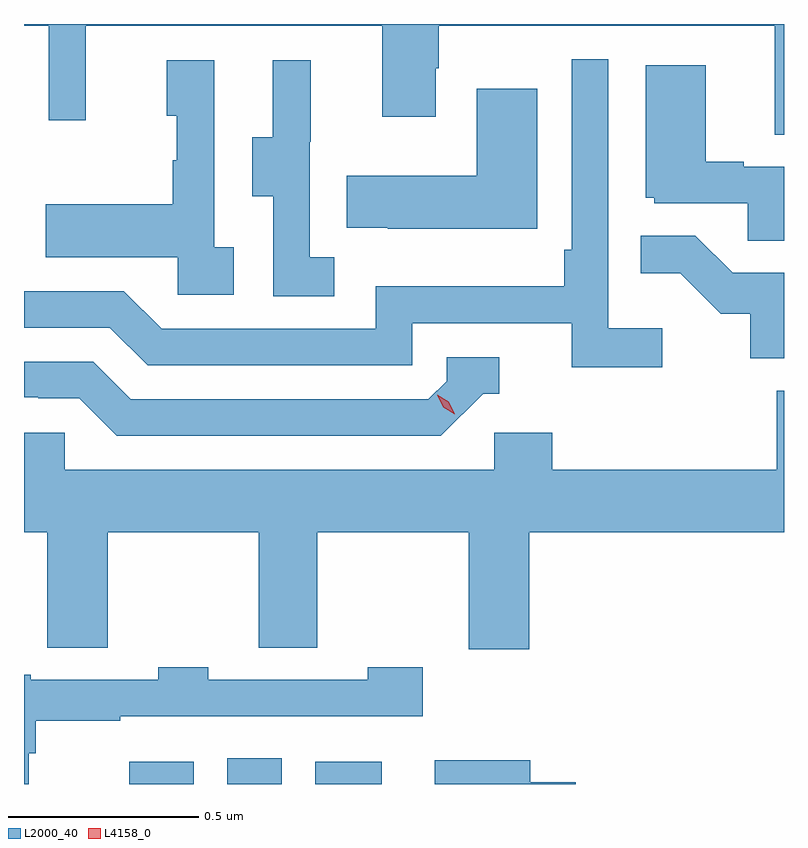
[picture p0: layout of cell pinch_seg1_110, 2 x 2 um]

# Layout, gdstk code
import gdstk
lib = gdstk.Library(unit=1e-6, precision=1e-09)
def R(c, l, rs):  # rectangles x0, y0, x1, y1
    for r in rs: c.add(gdstk.rectangle(r[:2], r[2:], *l))
def P(c, l, *ps):  # polygons
    for p in ps: c.add(gdstk.Polygon(p, *l))
L2000_40 = (2000, 40)
L4158_0 = (4158, 0)

pinch_seg1_110 = lib.new_cell('pinch_seg1_110')
R(pinch_seg1_110, L2000_40, [(1024.235,556.397,1024.405,556.456), (1024.493,556.397,1024.636,556.465), (1024.724,556.397,1024.9,556.456)])
P(pinch_seg1_110, L2000_40, [(1025.958,558.397),(1023.958,558.397),(1023.958,558.392),(1024.023,558.392),(1024.023,558.144),(1024.121,558.144),(1024.121,558.392),(1024.901,558.392),(1024.901,558.153),(1025.041,558.153),(1025.041,558.281),(1025.049,558.281),(1025.049,558.392),(1025.933,558.392),(1025.933,558.106),(1025.958,558.106)],
  [(1025.638,557.596),(1025.496,557.596),(1025.496,558.304),(1025.4,558.304),(1025.4,557.803),(1025.38,557.803),(1025.38,557.707),(1024.884,557.707),(1024.884,557.595),(1024.32,557.595),(1024.221,557.694),(1023.958,557.694),(1023.958,557.598),(1024.184,557.598),(1024.283,557.499),(1024.98,557.499),(1024.98,557.61),(1025.399,557.61),(1025.399,557.494),(1025.638,557.494)],
  [(1024.774,557.783),(1024.71,557.783),(1024.71,558.087),(1024.712,558.087),(1024.712,558.301),(1024.613,558.301),(1024.613,558.099),(1024.559,558.099),(1024.559,557.944),(1024.614,557.944),(1024.614,557.68),(1024.774,557.68)],
  [(1024.51,557.81),(1024.458,557.81),(1024.458,558.301),(1024.334,558.301),(1024.334,558.156),(1024.36,558.156),(1024.36,558.038),(1024.35,558.038),(1024.35,557.923),(1024.015,557.923),(1024.015,557.783),(1024.362,557.783),(1024.362,557.685),(1024.51,557.685)],
  [(1025.958,558.021),(1025.852,558.021),(1025.852,558.034),(1025.752,558.034),(1025.752,558.289),(1025.594,558.289),(1025.594,557.94),(1025.616,557.94),(1025.616,557.925),(1025.863,557.925),(1025.863,557.827),(1025.958,557.827)],
  [(1025.308,558.226),(1025.15,558.226),(1025.15,557.998),(1024.807,557.998),(1024.807,557.861),(1024.915,557.861),(1024.915,557.858),(1025.308,557.858)],
  [(1025.958,557.742),(1025.823,557.742),(1025.725,557.84),(1025.581,557.84),(1025.581,557.741),(1025.685,557.741),(1025.792,557.634),(1025.869,557.634),(1025.869,557.517),(1025.958,557.517)],
  [(1025.166,557.424),(1025.209,557.424),(1025.209,557.52),(1025.07,557.52),(1025.07,557.457),(1025.022,557.409),(1024.239,557.409),(1024.14,557.508),(1023.958,557.508),(1023.958,557.415),(1023.996,557.415),(1023.996,557.412),(1024.103,557.412),(1024.202,557.313),(1025.055,557.313)],
  [(1025.288,557.06),(1025.958,557.06),(1025.958,557.432),(1025.939,557.432),(1025.939,557.224),(1025.348,557.224),(1025.348,557.322),(1025.196,557.322),(1025.196,557.224),(1024.065,557.224),(1024.065,557.322),(1023.958,557.322),(1023.958,557.06),(1024.019,557.06),(1024.019,556.756),(1024.178,556.756),(1024.178,557.06),(1024.576,557.06),(1024.576,556.756),(1024.73,556.756),(1024.73,557.06),(1025.128,557.06),(1025.128,556.752),(1025.288,556.752)],
  [(1023.97,556.478),(1023.989,556.478),(1023.989,556.563),(1024.211,556.563),(1024.211,556.575),(1025.007,556.575),(1025.007,556.704),(1024.863,556.704),(1024.863,556.671),(1024.443,556.671),(1024.443,556.704),(1024.311,556.704),(1024.311,556.671),(1023.976,556.671),(1023.976,556.684),(1023.958,556.684),(1023.958,556.397),(1023.97,556.397)],
  [(1025.41,556.401),(1025.29,556.401),(1025.29,556.459),(1025.039,556.459),(1025.039,556.397),(1025.41,556.397)])
P(pinch_seg1_110, L4158_0, [(1025.092,557.37),(1025.061,557.389),(1025.045,557.422),(1025.045,557.422),(1025.046,557.422),(1025.076,557.403),(1025.092,557.37),(1025.092,557.37)])

lib.write_gds('pinch_seg1_110.gds')
